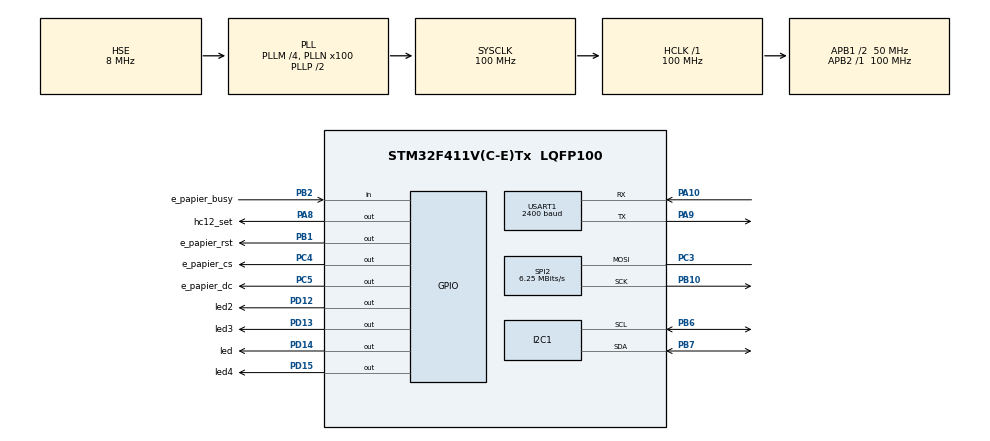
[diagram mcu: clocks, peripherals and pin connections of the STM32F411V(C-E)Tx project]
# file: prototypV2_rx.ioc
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Dma.Request0=USART1_RX
Dma.USART1_RX.0.Direction=DMA_PERIPH_TO_MEMORY
Dma.USART1_RX.0.FIFOMode=DMA_FIFOMODE_DISABLE
Dma.USART1_RX.0.Instance=DMA2_Stream2
Dma.USART1_RX.0.MemDataAlignment=DMA_MDATAALIGN_BYTE
Dma.USART1_RX.0.MemInc=DMA_MINC_ENABLE
Dma.USART1_RX.0.Mode=DMA_NORMAL
Dma.USART1_RX.0.PeriphDataAlignment=DMA_PDATAALIGN_BYTE
Dma.USART1_RX.0.PeriphInc=DMA_PINC_DISABLE
Dma.USART1_RX.0.Priority=DMA_PRIORITY_LOW
FREERTOS.BinarySemaphores01=ParseSemaphore,Dynamic,NULL
FREERTOS.Events01=ProcesFlags,Dynamic,NULL
FREERTOS.Mutexes01=PMSData,Dynamic,NULL;EpapierData,Dynamic,NULL;hc12Data,Dynamic,NULL;AHT15Data,Dynamic,NULL
FREERTOS.Queues01=Time,16,uint32_t,0,Dynamic,NULL,NULL
FREERTOS.Tasks01=HeartBit,8,128,StartHeartBit,Default,NULL,Dynamic,NULL,NULL;TimeToEnd,24,512,StartTimeToEnd,Default,NULL,Dynamic,NULL,NULL;TimeToSend,24,256,StartTimeToSend,Default,NULL,Dynamic,NULL,NULL;EpapierTask,27,256,StartEpapierTask,Default,NULL,Dynamic,NULL,NULL;Parse,24,256,StartParse,Default,NULL,Dynamic,NULL,NULL;AHT15Task,16,256,StartAHT15Task,Default,NULL,Dynamic,NULL,NULL
Mcu.Family=STM32F4
Mcu.Name=STM32F411V(C-E)Tx
Mcu.Package=LQFP100
NVIC.DMA2_Stream2_IRQn=true\:5\:0\:false\:true\:true\:1\:true\:false\:true\:true
NVIC.PriorityGroup=NVIC_PRIORITYGROUP_4
NVIC.TIM1_TRG_COM_TIM11_IRQn=true\:15\:0\:false\:false\:true\:false\:false\:true\:true
NVIC.TimeBase=TIM1_TRG_COM_TIM11_IRQn
NVIC.TimeBaseIP=TIM11
NVIC.USART1_IRQn=true\:5\:0\:false\:true\:true\:2\:true\:true\:true\:true
PA10.Mode=Asynchronous
PA10.Signal=USART1_RX
PA8.GPIO_Label=hc12_set
PA8.PinState=GPIO_PIN_SET
PA8.Signal=GPIO_Output
PA9.Mode=Asynchronous
PA9.Signal=USART1_TX
PB1.GPIO_Label=e_papier_rst
PB1.PinState=GPIO_PIN_SET
PB1.Signal=GPIO_Output
PB10.Mode=Simplex_Bidirectional_Master
PB10.Signal=SPI2_SCK
PB2.GPIO_Label=e_papier_busy
PB2.Signal=GPIO_Input
PB6.Mode=I2C
PB6.Signal=I2C1_SCL
PB7.Mode=I2C
PB7.Signal=I2C1_SDA
PC3.Mode=Simplex_Bidirectional_Master
PC3.Signal=SPI2_MOSI
PC4.GPIO_Label=e_papier_cs
PC4.PinState=GPIO_PIN_SET
PC4.Signal=GPIO_Output
PC5.GPIO_Label=e_papier_dc
PC5.Signal=GPIO_Output
PD12.GPIO_Label=led2
PD12.Signal=GPIO_Output
PD13.GPIO_Label=led3
PD13.Signal=GPIO_Output
PD14.GPIO_Label=led
PD14.Signal=GPIO_Output
PD15.GPIO_Label=led4
PD15.Signal=GPIO_Output
PH0\ -\ OSC_IN.Mode=HSE-External-Oscillator
PH0\ -\ OSC_IN.Signal=RCC_OSC_IN
PH1\ -\ OSC_OUT.Mode=HSE-External-Oscillator
PH1\ -\ OSC_OUT.Signal=RCC_OSC_OUT
ProjectManager.HeapSize=0x200
ProjectManager.StackSize=0x400
ProjectManager.TargetToolchain=STM32CubeIDE
RCC.48MHZClocksFreq_Value=50000000
RCC.AHBFreq_Value=100000000
RCC.APB1CLKDivider=RCC_HCLK_DIV2
RCC.APB1Freq_Value=50000000
RCC.APB1TimFreq_Value=100000000
RCC.APB2Freq_Value=100000000
RCC.APB2TimFreq_Value=100000000
RCC.CortexFreq_Value=100000000
RCC.HCLKFreq_Value=100000000
RCC.HSE_VALUE=8000000
RCC.HSI_VALUE=16000000
RCC.LSE_VALUE=32768
RCC.PLLM=4
RCC.PLLN=100
RCC.PLLSourceVirtual=RCC_PLLSOURCE_HSE
RCC.SYSCLKFreq_VALUE=100000000
RCC.SYSCLKSource=RCC_SYSCLKSOURCE_PLLCLK
RCC.VCOOutputFreq_Value=200000000
SPI2.BaudRatePrescaler=SPI_BAUDRATEPRESCALER_8
SPI2.CalculateBaudRate=6.25 MBits/s
SPI2.Direction=SPI_DIRECTION_1LINE
SPI2.Mode=SPI_MODE_MASTER
SPI2.VirtualType=VM_MASTER
USART1.BaudRate=2400
USART1.VirtualMode=VM_ASYNC
VP_FREERTOS_VS_CMSIS_V2.Mode=CMSIS_V2
VP_SYS_VS_tim11.Mode=TIM11
board=custom

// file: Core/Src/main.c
/* USER CODE BEGIN Header */
/**
  ******************************************************************************
  * @file           : main.c
  * @brief          : Main program body
  ******************************************************************************
  * @attention
  *
  * Copyright (c) 2022 STMicroelectronics.
  * All rights reserved.
  *
  * This software is licensed under terms that can be found in the LICENSE file
  * in the root directory of this software component.
  * If no LICENSE file comes with this software, it is provided AS-IS.
  *
  ******************************************************************************
  */
/* USER CODE END Header */
#include "main.h"
#include "cmsis_os.h"
#include "dma.h"
#include "i2c.h"
#include "spi.h"
#include "usart.h"
#include "gpio.h"

void SystemClock_Config(void);
void MX_FREERTOS_Init(void);
static void MX_NVIC_Init(void);

int main(void)
{

  /* MCU Configuration--------------------------------------------------------*/

  /* Reset of all peripherals, Initializes the Flash interface and the Systick. */
  HAL_Init();

  /* Configure the system clock */
  SystemClock_Config();

  /* Initialize all configured peripherals */
  MX_GPIO_Init();
  MX_DMA_Init();
  MX_SPI2_Init();
  MX_USART1_UART_Init();
  MX_I2C1_Init();

  /* Initialize interrupts */
  MX_NVIC_Init();

  /* Init scheduler */
  osKernelInitialize();  /* Call init function for freertos objects (in freertos.c) */
  MX_FREERTOS_Init();

  /* Start scheduler */
  osKernelStart();

  /* We should never get here as control is now taken by the scheduler */
  /* Infinite loop */
  while (1)
  {

  }
}

void SystemClock_Config(void)
{
  RCC_OscInitTypeDef RCC_OscInitStruct = {0};
  RCC_ClkInitTypeDef RCC_ClkInitStruct = {0};

  /** Configure the main internal regulator output voltage
  */
  __HAL_RCC_PWR_CLK_ENABLE();
  __HAL_PWR_VOLTAGESCALING_CONFIG(PWR_REGULATOR_VOLTAGE_SCALE1);

  /** Initializes the RCC Oscillators according to the specified parameters
  * in the RCC_OscInitTypeDef structure.
  */
  RCC_OscInitStruct.OscillatorType = RCC_OSCILLATORTYPE_HSE;
  RCC_OscInitStruct.HSEState = RCC_HSE_ON;
  RCC_OscInitStruct.PLL.PLLState = RCC_PLL_ON;
  RCC_OscInitStruct.PLL.PLLSource = RCC_PLLSOURCE_HSE;
  RCC_OscInitStruct.PLL.PLLM = 4;
  RCC_OscInitStruct.PLL.PLLN = 100;
  RCC_OscInitStruct.PLL.PLLP = RCC_PLLP_DIV2;
  RCC_OscInitStruct.PLL.PLLQ = 4;
  if (HAL_RCC_OscConfig(&RCC_OscInitStruct) != HAL_OK)
  {
    Error_Handler();
  }

  /** Initializes the CPU, AHB and APB buses clocks
  */
  RCC_ClkInitStruct.ClockType = RCC_CLOCKTYPE_HCLK|RCC_CLOCKTYPE_SYSCLK
                              |RCC_CLOCKTYPE_PCLK1|RCC_CLOCKTYPE_PCLK2;
  RCC_ClkInitStruct.SYSCLKSource = RCC_SYSCLKSOURCE_PLLCLK;
  RCC_ClkInitStruct.AHBCLKDivider = RCC_SYSCLK_DIV1;
  RCC_ClkInitStruct.APB1CLKDivider = RCC_HCLK_DIV2;
  RCC_ClkInitStruct.APB2CLKDivider = RCC_HCLK_DIV1;

  if (HAL_RCC_ClockConfig(&RCC_ClkInitStruct, FLASH_LATENCY_3) != HAL_OK)
  {
    Error_Handler();
  }
}

/**
  * @brief NVIC Configuration.
  * @retval None
  */
static void MX_NVIC_Init(void)
{
  /* DMA2_Stream2_IRQn interrupt configuration */
  HAL_NVIC_SetPriority(DMA2_Stream2_IRQn, 5, 0);
  HAL_NVIC_EnableIRQ(DMA2_Stream2_IRQn);
  /* USART1_IRQn interrupt configuration */
  HAL_NVIC_SetPriority(USART1_IRQn, 5, 0);
  HAL_NVIC_EnableIRQ(USART1_IRQn);
}

void HAL_TIM_PeriodElapsedCallback(TIM_HandleTypeDef *htim)
{
  if (htim->Instance == TIM11) {
    HAL_IncTick();
  }
}

void Error_Handler(void)
{
  __disable_irq();
  while (1)
  {
  }
}

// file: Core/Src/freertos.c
/* USER CODE BEGIN Header */
/**
  ******************************************************************************
  * File Name          : freertos.c
  * Description        : Code for freertos applications
  ******************************************************************************
  * @attention
  *
  * Copyright (c) 2022 STMicroelectronics.
  * All rights reserved.
  *
  * This software is licensed under terms that can be found in the LICENSE file
  * in the root directory of this software component.
  * If no LICENSE file comes with this software, it is provided AS-IS.
  *
  ******************************************************************************
  */
/* USER CODE END Header */

#include "FreeRTOS.h"
#include "task.h"
#include "main.h"
#include "cmsis_os.h"

/* USER CODE BEGIN Includes */
#include"e_papier.h"
#include"GFX_BW.h"
#include "fonts/fonts.h"
#include "printf.h"
#include "spi.h"
#include "usart.h"
#include "i2c.h"
/* USER CODE END Includes */

/* USER CODE BEGIN Variables */
uint16_t PMSData[3]={0,0,0};
uint8_t hc12Data[100];
float temp,p,h;
float tempAHT15,humAHT15;
void buffer_clear()
{
	for(int i=0;i<100;i++)
	{
		hc12Data[i]=0;
	}
}
uint8_t addr=(0x38<<1);
uint16_t MakePMSWord(uint8_t a,uint8_t b)
{
	uint16_t p=(a<<8);
	return p|b;
}
/* USER CODE END Variables */
/* Definitions for HeartBit */
osThreadId_t HeartBitHandle;
const osThreadAttr_t HeartBit_attributes = {
  .name = "HeartBit",
  .stack_size = 128 * 4,
  .priority = (osPriority_t) osPriorityLow,
};
/* Definitions for TimeToEnd */
osThreadId_t TimeToEndHandle;
const osThreadAttr_t TimeToEnd_attributes = {
  .name = "TimeToEnd",
  .stack_size = 512 * 4,
  .priority = (osPriority_t) osPriorityNormal,
};
/* Definitions for TimeToSend */
osThreadId_t TimeToSendHandle;
const osThreadAttr_t TimeToSend_attributes = {
  .name = "TimeToSend",
  .stack_size = 256 * 4,
  .priority = (osPriority_t) osPriorityNormal,
};
/* Definitions for EpapierTask */
osThreadId_t EpapierTaskHandle;
const osThreadAttr_t EpapierTask_attributes = {
  .name = "EpapierTask",
  .stack_size = 256 * 4,
  .priority = (osPriority_t) osPriorityNormal3,
};
/* Definitions for Parse */
osThreadId_t ParseHandle;
const osThreadAttr_t Parse_attributes = {
  .name = "Parse",
  .stack_size = 256 * 4,
  .priority = (osPriority_t) osPriorityNormal,
};
/* Definitions for AHT15Task */
osThreadId_t AHT15TaskHandle;
const osThreadAttr_t AHT15Task_attributes = {
  .name = "AHT15Task",
  .stack_size = 256 * 4,
  .priority = (osPriority_t) osPriorityBelowNormal,
};
/* Definitions for Time */
osMessageQueueId_t TimeHandle;
const osMessageQueueAttr_t Time_attributes = {
  .name = "Time"
};
/* Definitions for PMSData */
osMutexId_t PMSDataHandle;
const osMutexAttr_t PMSData_attributes = {
  .name = "PMSData"
};
/* Definitions for EpapierData */
osMutexId_t EpapierDataHandle;
const osMutexAttr_t EpapierData_attributes = {
  .name = "EpapierData"
};
/* Definitions for hc12Data */
osMutexId_t hc12DataHandle;
const osMutexAttr_t hc12Data_attributes = {
  .name = "hc12Data"
};
/* Definitions for AHT15Data */
osMutexId_t AHT15DataHandle;
const osMutexAttr_t AHT15Data_attributes = {
  .name = "AHT15Data"
};
/* Definitions for ParseSemaphore */
osSemaphoreId_t ParseSemaphoreHandle;
const osSemaphoreAttr_t ParseSemaphore_attributes = {
  .name = "ParseSemaphore"
};
/* Definitions for ProcesFlags */
osEventFlagsId_t ProcesFlagsHandle;
const osEventFlagsAttr_t ProcesFlags_attributes = {
  .name = "ProcesFlags"
};

void StartHeartBit(void *argument);
void StartTimeToEnd(void *argument);
void StartTimeToSend(void *argument);
void StartEpapierTask(void *argument);
void StartParse(void *argument);
void StartAHT15Task(void *argument);

void MX_FREERTOS_Init(void); /* (MISRA C 2004 rule 8.1) */

void MX_FREERTOS_Init(void) {
  /* Create the mutex(es) */
  /* creation of PMSData */
  PMSDataHandle = osMutexNew(&PMSData_attributes);

  /* creation of EpapierData */
  EpapierDataHandle = osMutexNew(&EpapierData_attributes);

  /* creation of hc12Data */
  hc12DataHandle = osMutexNew(&hc12Data_attributes);

  /* creation of AHT15Data */
  AHT15DataHandle = osMutexNew(&AHT15Data_attributes);

  /* Create the semaphores(s) */
  /* creation of ParseSemaphore */
  ParseSemaphoreHandle = osSemaphoreNew(1, 1, &ParseSemaphore_attributes);

  /* Create the queue(s) */
  /* creation of Time */
  TimeHandle = osMessageQueueNew (16, sizeof(uint32_t), &Time_attributes);

  /* Create the thread(s) */
  /* creation of HeartBit */
  HeartBitHandle = osThreadNew(StartHeartBit, NULL, &HeartBit_attributes);

  /* creation of TimeToEnd */
  TimeToEndHandle = osThreadNew(StartTimeToEnd, NULL, &TimeToEnd_attributes);

  /* creation of TimeToSend */
  TimeToSendHandle = osThreadNew(StartTimeToSend, NULL, &TimeToSend_attributes);

  /* creation of EpapierTask */
  EpapierTaskHandle = osThreadNew(StartEpapierTask, NULL, &EpapierTask_attributes);

  /* creation of Parse */
  ParseHandle = osThreadNew(StartParse, NULL, &Parse_attributes);

  /* creation of AHT15Task */
  AHT15TaskHandle = osThreadNew(StartAHT15Task, NULL, &AHT15Task_attributes);

  /* creation of ProcesFlags */
  ProcesFlagsHandle = osEventFlagsNew(&ProcesFlags_attributes);

}

void StartHeartBit(void *argument)
{
  /* USER CODE BEGIN StartHeartBit */
  /* Infinite loop */
  for(;;)
  {
	  HAL_GPIO_WritePin(led_GPIO_Port, led_Pin, 1);
	  osDelay(100);
	  HAL_GPIO_WritePin(led_GPIO_Port, led_Pin, 0);
	  osDelay(100);
  }
  /* USER CODE END StartHeartBit */
}

void StartTimeToEnd(void *argument)
{
  /* USER CODE BEGIN StartTimeToEnd */
	char w[100];
	uint32_t t=0;
	uint32_t timeToEnd;
	uint32_t time;
  /* Infinite loop */
  for(;;)
  {
	  time=osKernelGetTickCount();
	  osEventFlagsWait(ProcesFlagsHandle, 0x00000001U, osFlagsWaitAny|osFlagsNoClear, osWaitForever);
	  if(osOK==osMessageQueueGet(TimeHandle, &t, 0, 0))
	  {
		  timeToEnd=180000-(osKernelGetTickCount()-t);
		  timeToEnd=timeToEnd/1000;
		  sprintf(w,"%d",timeToEnd);
		  osMutexAcquire(EpapierDataHandle, osWaitForever);
		  osMutexAcquire(hc12DataHandle, osWaitForever);
		  GFX_DrawString(0, 0, w, BLACK, 1);
		  sprintf(w,"PM1: %d PM2.5: %d PM10: %d temp: %0.2f press: %0.2f hum: %0.2f",PMSData[0],PMSData[1],PMSData[2],temp,p,h);
		  GFX_DrawString(0, 20, w, BLACK, 1);
		  osMutexAcquire(AHT15DataHandle, osWaitForever);
		  sprintf(w,"tempAHT: %0.2f humAHT: %0.2f",tempAHT15,humAHT15);
		  GFX_DrawString(0, 40, w, BLACK, 1);
		  osMutexRelease(AHT15DataHandle);
		  osEventFlagsSet(ProcesFlagsHandle, 0x00000002U);
		  osMutexRelease(hc12DataHandle);
		  osMutexRelease(EpapierDataHandle);
	  }
	  else
	  {
		  timeToEnd=180000-(osKernelGetTickCount()-t);
		  timeToEnd=timeToEnd/1000;
		  sprintf(w,"%d",timeToEnd);
		  osMutexAcquire(EpapierDataHandle, osWaitForever);
		  osMutexAcquire(hc12DataHandle, osWaitForever);
		  GFX_DrawString(0, 0, w, BLACK, 1);
		  sprintf(w,"PM1: %d PM2.5: %d PM10: %d temp: %0.2f press: %0.2f hum: %0.2f",PMSData[0],PMSData[1],PMSData[2],temp,p,h);
		  GFX_DrawString(0, 20, w, BLACK, 1);
		  osMutexAcquire(AHT15DataHandle, osWaitForever);
		  sprintf(w,"tempAHT: %0.2f humAHT: %0.2f",tempAHT15,humAHT15);
		  GFX_DrawString(0, 40, w, BLACK, 1);
		  osMutexRelease(AHT15DataHandle);
		  osEventFlagsSet(ProcesFlagsHandle, 0x00000002U);
		  osMutexRelease(hc12DataHandle);
		  osMutexRelease(EpapierDataHandle);
	  }
	  time+=10000;
	  osDelayUntil(time);
  }
  /* USER CODE END StartTimeToEnd */
}

void StartTimeToSend(void *argument)
{
  /* USER CODE BEGIN StartTimeToSend */
uint32_t time;
  /* Infinite loop */
  for(;;)
  {
	  osEventFlagsWait(ProcesFlagsHandle, 0x00000004U, osFlagsWaitAny, osWaitForever);
	  time=osKernelGetTickCount();
	  osMessageQueuePut(TimeHandle, &time, 0, 0);
	  osEventFlagsSet(ProcesFlagsHandle, 0x00000001U);
	  osDelay(180000);
	  osMutexAcquire(EpapierDataHandle, osWaitForever);
	  GFX_DrawString(0, 0, "wyslano zapytanie", BLACK, 1);
	  osMutexRelease(EpapierDataHandle);
	  osEventFlagsClear(ProcesFlagsHandle, 0x00000001U);
	  osEventFlagsSet(ProcesFlagsHandle, 0x00000002U);
	  HAL_UART_Transmit(&huart1, (uint8_t*)"start", sizeof("start"), 100);
  }
  /* USER CODE END StartTimeToSend */
}

void StartEpapierTask(void *argument)
{
  /* USER CODE BEGIN StartEpapierTask */
	e_papier_init(&hspi2);
	GFX_SetFont(font_8x5);
	osMutexAcquire(AHT15DataHandle, osWaitForever);
	HAL_I2C_Master_Transmit(&hi2c1, addr, (uint8_t*)0xe1, 1, 1000);
	osDelay(100);
	osMutexRelease(AHT15DataHandle);
	osMutexAcquire(EpapierDataHandle, osWaitForever);
	e_papier_display();
	osMutexRelease(EpapierDataHandle);
	//osEventFlagsSet(ProcesFlagsHandle, 0x00000004U);
	HAL_UARTEx_ReceiveToIdle_DMA(&huart1, hc12Data, 100);
  /* Infinite loop */
  for(;;)
  {
	  //GFX_DrawString(0, 0, "abs", BLACK, 1);
	  osEventFlagsWait(ProcesFlagsHandle, 0x00000002U, osFlagsWaitAny, osWaitForever);
	  osMutexAcquire(EpapierDataHandle, osWaitForever);
	  e_papier_display();
	  e_papier_clear();
	  osMutexRelease(EpapierDataHandle);

  }
  /* USER CODE END StartEpapierTask */
}

void StartParse(void *argument)
{
  /* USER CODE BEGIN StartParse */
	char w[30];
  /* Infinite loop */
  for(;;)
  {
	  osSemaphoreAcquire(ParseSemaphoreHandle, osWaitForever);
	  if(hc12Data[0]=='t')
	  {
		  osMutexAcquire(EpapierDataHandle, osWaitForever);
		  GFX_DrawString(0, 0, (char*)hc12Data, BLACK, 1);
		  sprintf(w,"PM1: %d PM2.5: %d PM10: %d temp: %0.2f press: %0.2f hum: %0.2f",PMSData[0],PMSData[1],PMSData[2],temp,p,h);
		  GFX_DrawString(0, 20, w, BLACK, 1);
		  osMutexAcquire(AHT15DataHandle, osWaitForever);
		  sprintf(w,"tempAHT: %0.2f humAHT: %0.2f",tempAHT15,humAHT15);
		  GFX_DrawString(0, 40, w, BLACK, 1);
		  osMutexRelease(AHT15DataHandle);
		  osMutexRelease(EpapierDataHandle);
		  osEventFlagsSet(ProcesFlagsHandle, 0x00000002U);
	  }
	  else
	  {
		  osMutexAcquire(hc12DataHandle, osWaitForever);
		  PMSData[0]=MakePMSWord(hc12Data[0], hc12Data[1]);
		  PMSData[1]=MakePMSWord(hc12Data[2], hc12Data[3]);
		  PMSData[2]=MakePMSWord(hc12Data[4], hc12Data[5]);
		  uint8_t *j;
		  j=&temp;
		  for(int i=0;i<4;i++)
		  {
			  *j=hc12Data[i+6];
			  j++;
		  }
		  j=&p;
		  for(int i=0;i<4;i++)
		  {
			  *j=hc12Data[i+10];
			  j++;
		  }
		  j=&h;
		  for(int i=0;i<4;i++)
		  {
			  *j=hc12Data[i+14];
			  j++;
		  }
		  osMutexRelease(hc12DataHandle);
		  osEventFlagsSet(ProcesFlagsHandle, 0x00000004U);
	  }
		buffer_clear();
  }
  /* USER CODE END StartParse */
}

void StartAHT15Task(void *argument)
{
  /* USER CODE BEGIN StartAHT15Task */
  /* Infinite loop */
  for(;;)
  {
	  osMutexAcquire(AHT15DataHandle, osWaitForever);
	  uint8_t data[3]={0xac,0x33,0x00};
	  HAL_I2C_Master_Transmit(&hi2c1, addr, data, 3, 1000);
	  osDelay(300);
	  uint8_t dataRx[6];
	  HAL_I2C_Master_Receive(&hi2c1, addr, dataRx, 6, 1000);
	  uint32_t TempRaw=(((dataRx[3]&0x0f)<<16)|(dataRx[4]<<8)|dataRx[5]);
	  tempAHT15=((TempRaw*200.00)/1048576.00) - 50;
	  uint32_t HumRaw=(((dataRx[1]<<16)|(dataRx[2]<<8)|dataRx[3])>>4);
	  humAHT15=HumRaw*100.00/1048576.00;
	  osMutexRelease(AHT15DataHandle);
	  osDelay(20000);
  }
  /* USER CODE END StartAHT15Task */
}

/* USER CODE BEGIN Application */
void HAL_UARTEx_RxEventCallback(UART_HandleTypeDef *huart, uint16_t Size)
{
	HAL_UARTEx_ReceiveToIdle_DMA(&huart1, hc12Data, 100);
	osSemaphoreRelease(ParseSemaphoreHandle);
}
/* USER CODE END Application */
